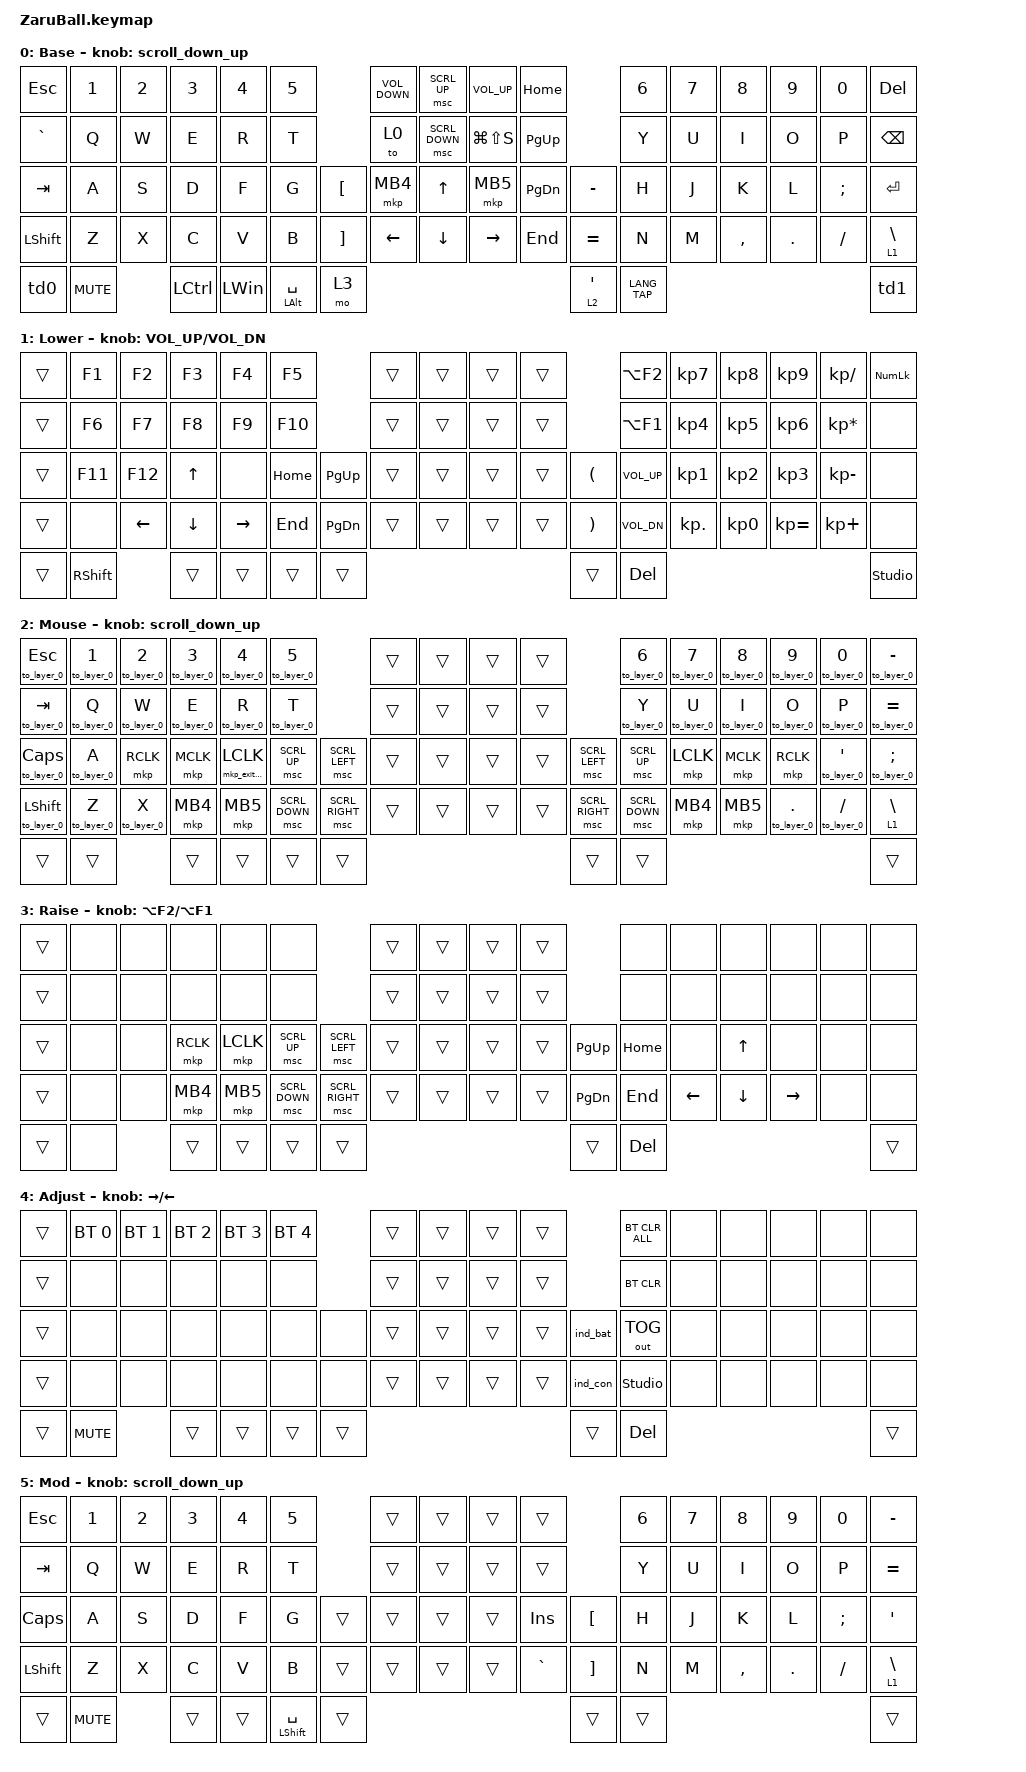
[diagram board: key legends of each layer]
//#include <dt-bindings/zmk/mouse.h>

#include <behaviors/rgbled_widget.dtsi>
#include <behaviors/naginata.dtsi>
#include <input/processors.dtsi>
#include <dt-bindings/zmk/input_transform.h>
#include <behaviors.dtsi>
#include <dt-bindings/zmk/bt.h>
#include <dt-bindings/zmk/keys.h>
#include <dt-bindings/zmk/outputs.h>
#include <dt-bindings/zmk/pointing.h>

#define BASE     0
#define NAGINATA 1
#define MOUSE    2
#define LOWER    3
#define RAISE    4
#define ADJUST   5
#define MOD      6
#define SCROLL   3

// スクロール量の設定

#define ZMK_POINTING_DEFAULT_SCRL_VAL 100

&trackball_listener {
    input-processors = <
&zip_xy_transform (INPUT_TRANSFORM_XY_SWAP | INPUT_TRANSFORM_Y_INVERT | INPUT_TRANSFORM_X_INVERT)
                        &zip_temp_layer MOUSE 50
    >;

    scroller {
        layers = <SCROLL>;
        input-processors = <
                            &zip_xy_transform (INPUT_TRANSFORM_XY_SWAP | INPUT_TRANSFORM_X_INVERT)
                            &zip_xy_scaler 1 20
                            &zip_xy_to_scroll_mapper
        >;
    };
};

/ {
    conditional_layers {
        compatible = "zmk,conditional-layers";

        tri_layer {
            if-layers = <1 5>;
            then-layer = <5>;
        };
    };
};

/ {
    behaviors {
        // スクロール用のbehaviorの設定

        scroll_down_up: behavior_sensor_rotate_mouse_wheel_down_up {
            compatible = "zmk,behavior-sensor-rotate";
            #sensor-binding-cells = <0>;
            bindings = <&msc SCRL_DOWN>, <&msc SCRL_UP>;

            tap-ms = <20>; // スクロールのタップ時間
        };

        td0: tap_dance_0 {
            compatible = "zmk,behavior-tap-dance";
            #binding-cells = <0>;
            tapping-term-ms = <200>;
            bindings = <&mt LEFT_CONTROL TAB>, <&mo 3>, <&mo 4>;
        };

        td1: tap_dance_1 {
            compatible = "zmk,behavior-tap-dance";
            #binding-cells = <0>;
            tapping-term-ms = <200>;
            bindings = <&mt RSHFT LANG1>, <&mo 3>, <&mo 4>;
        };

        // Customed Hold-Tap for SandS
        // 他キーとの同時押しのみHold(Shift), 500m以上長押しすると、Tap(Space)のリピート

        SandS: SandS {
            compatible = "zmk,behavior-hold-tap";
            #binding-cells = <2>;
            flavor = "tap-unless-interrupted";
            tapping-term-ms = <500>; // tap-unless-interruptedのため意味は無いが、設定しないとエラーはく
            quick-tap-ms = <500>;
            bindings = <&kp>, <&kp>;

            display-name = "SandS";
        };

        ht_BASE: ht_BASE {
            compatible = "zmk,behavior-hold-tap";
            #binding-cells = <2>;
            flavor = "hold-preferred";
            tapping-term-ms = <200>;
            bindings = <&BL_mod>, <&kp>;

            display-name = "ht-BL_mod";
        };

        LANG_TAP: LANG_TAP {
            compatible = "zmk,behavior-tap-dance";
            label = "LANG_TAP";
            #binding-cells = <0>;
            bindings = <&kp LANGUAGE_1>, <&kp LANGUAGE_2>;
        };
    };
};

&sl { release-after-ms = <250>; }; // time needed for double click (for mkp_exit_AML)
/ {
    macros {
        // When in AML, move to default layer when key (except mouse button) pressed

        to_layer_0: to_layer_0 {
            compatible = "zmk,behavior-macro-one-param";
            #binding-cells = <1>;
            bindings = <&tog 0 &macro_param_1to1 &kp MACRO_PLACEHOLDER>;
            label = "TO_layer_0";
        };

        // When LCLK pressed, exit AML (after 250ms cause by sticky layer)

        mkp_exit_AML: mkp_exit_AML {
            compatible = "zmk,behavior-macro-one-param";
            #binding-cells = <1>;
            bindings =
                <&macro_press>,
                <&macro_param_1to1 &mkp MACRO_PLACEHOLDER>,
                <&macro_pause_for_release>,
                <&macro_release>,
                <&macro_param_1to1 &mkp MACRO_PLACEHOLDER>,
                <&macro_tap>,
                <&sl 5>;

            label = "MKP_EXIT_AML";
        };

        // Support swapping into Scroll layer when AML is activated

        to_scroll_layer: to_scroll_layer {
            compatible = "zmk,behavior-macro";
            #binding-cells = <0>;
            bindings =
                <&to 1>,
                <&macro_press>,
                <&mo 1>,
                <&macro_pause_for_release>,
                <&macro_release>,
                <&mo 1>;
        };

        BL_mod: BL_mod {
            compatible = "zmk,behavior-macro-one-param";
            #binding-cells = <1>;
            bindings =
                <&macro_press>,
                <&mo 6 &macro_param_1to1>,
                <&macro_press>,
                <&kp MACRO_PLACEHOLDER>,
                <&macro_pause_for_release>,
                <&macro_param_1to1>,
                <&macro_release>,
                <&kp MACRO_PLACEHOLDER>,
                <&macro_release>,
                <&mo 6>;
        };
    };

    combos {
        compatible = "zmk,combos";

        combo_ng_on {
            timeout-ms = <300>;
            key-positions = <44 45>;
            bindings = <&ng_on>;
            layers = <0>;
        };

        combo_ng_off {
            timeout-ms = <300>;
            key-positions = <36 37>;
            bindings = <&ng_off>;
            layers = <0>;
        };

        left_click {
            bindings = <&mkp LCLK>;
            key-positions = <64 63>;
        };

        righet_click {
            bindings = <&mkp RCLK>;
            key-positions = <64 65>;
        };

        mid_click {
            bindings = <&mkp MCLK>;
            key-positions = <63 65>;
        };

        ALT {
            bindings = <&kp LEFT_ALT>;
            key-positions = <70 71>;
        };
    };
};

/ {
    keymap {
        compatible = "zmk,keymap";

        base_layer {
            display-name = "Base";
            sensor-bindings = <&scroll_down_up>;
            bindings = <
&kp ESC         &kp N1      &kp N2  &kp N3            &kp N4        &kp N5                             &kp C_VOLUME_DOWN  &msc SCRL_UP    &kp C_VOLUME_UP  &kp HOME                    &kp N6     &kp N7  &kp NUMBER_8  &kp N9   &kp N0    &kp DELETE
&kp GRAVE       &kp Q       &kp W   &kp E             &kp R         &kp T                              &to 0              &msc SCRL_DOWN  &kp LG(LS(S))    &kp PAGE_UP                 &kp Y      &kp U   &kp I         &kp O    &kp P     &kp BACKSPACE
&kp TAB         &kp A       &kp S   &kp D             &kp F         &kp G                  &kp LBKT    &mkp MB4           &kp UP_ARROW    &mkp MB5         &kp PAGE_DOWN    &kp MINUS  &kp H      &kp J   &kp K         &kp L    &kp SEMI  &kp RET
&kp LEFT_SHIFT  &kp Z       &kp X   &kp C             &kp V         &kp B                  &kp RBKT    &kp LEFT_ARROW     &kp DOWN_ARROW  &kp RIGHT        &kp END          &kp EQUAL  &kp N      &kp M   &kp COMMA     &kp DOT  &kp FSLH  &lt 1 BACKSLASH
&td0            &kp C_MUTE          &kp LEFT_CONTROL  &kp LEFT_WIN  &SandS LEFT_ALT SPACE  &mo 3                                                                            &lt 2 SQT  &LANG_TAP                                           &td1
            >;
        };

        lower_layer {
            display-name = "Lower";
            sensor-bindings = <&inc_dec_kp C_VOL_UP C_VOL_DN>;
            bindings = <
&trans  &kp F1     &kp F2    &kp F3    &kp F4     &kp F5                 &trans  &trans  &trans  &trans              &kp LA(F2)    &kp KP_N7   &kp KP_N8  &kp KP_N9     &kp KP_SLASH     &kp KP_NUMLOCK
&trans  &kp F6     &kp F7    &kp F8    &kp F9     &kp F10                &trans  &trans  &trans  &trans              &kp LA(F1)    &kp KP_N4   &kp KP_N5  &kp KP_N6     &kp KP_MULTIPLY  &none
&trans  &kp F11    &kp F12   &kp UP    &none      &kp HOME  &kp PG_UP    &trans  &trans  &trans  &trans    &kp LPAR  &kp C_VOL_UP  &kp KP_N1   &kp KP_N2  &kp KP_N3     &kp KP_MINUS     &none
&trans  &none      &kp LEFT  &kp DOWN  &kp RIGHT  &kp END   &kp PG_DN    &trans  &trans  &trans  &trans    &kp RPAR  &kp C_VOL_DN  &kp KP_DOT  &kp KP_N0  &kp KP_EQUAL  &kp KP_PLUS      &none
&trans  &kp RSHFT            &trans    &trans     &trans    &trans                                         &trans    &kp DEL                                                             &studio_unlock
            >;
        };

        mouse_layer {
            display-name = "Mouse";
            sensor-bindings = <&scroll_down_up>;
            bindings = <
&to_layer_0 ESC     &to_layer_0 N1  &to_layer_0 N2  &to_layer_0 N3  &to_layer_0 N4      &to_layer_0 N5                     &trans  &trans  &trans  &trans                     &to_layer_0 N6  &to_layer_0 N7  &to_layer_0 N8  &to_layer_0 N9      &to_layer_0 N0            &to_layer_0 MINUS
&to_layer_0 TAB     &to_layer_0 Q   &to_layer_0 W   &to_layer_0 E   &to_layer_0 R       &to_layer_0 T                      &trans  &trans  &trans  &trans                     &to_layer_0 Y   &to_layer_0 U   &to_layer_0 I   &to_layer_0 O       &to_layer_0 P             &to_layer_0 EQUAL
&to_layer_0 CAPS    &to_layer_0 A   &mkp RCLK       &mkp MCLK       &mkp_exit_AML LCLK  &msc SCRL_UP    &msc SCRL_LEFT     &trans  &trans  &trans  &trans    &msc SCRL_LEFT   &msc SCRL_UP    &mkp LCLK       &mkp MCLK       &mkp RCLK           &to_layer_0 SINGLE_QUOTE  &to_layer_0 SEMICOLON
&to_layer_0 LSHIFT  &to_layer_0 Z   &to_layer_0 X   &mkp MB4        &mkp MB5            &msc SCRL_DOWN  &msc SCRL_RIGHT    &trans  &trans  &trans  &trans    &msc SCRL_RIGHT  &msc SCRL_DOWN  &mkp MB4        &mkp MB5        &to_layer_0 PERIOD  &to_layer_0 SLASH         &lt 1 BACKSLASH
&trans              &trans                          &trans          &trans              &trans          &trans                                               &trans           &trans                                                                                        &trans
            >;
        };

        raise_layer {
            display-name = "Raise";
            sensor-bindings = <&inc_dec_kp LA(F2) LA(F1)>;
            bindings = <
&trans  &none  &none  &none      &none      &none                              &trans  &trans  &trans  &trans               &none     &none     &none     &none      &none  &none
&trans  &none  &none  &none      &none      &none                              &trans  &trans  &trans  &trans               &none     &none     &none     &none      &none  &none
&trans  &none  &none  &mkp RCLK  &mkp LCLK  &msc SCRL_UP    &msc SCRL_LEFT     &trans  &trans  &trans  &trans    &kp PG_UP  &kp HOME  &none     &kp UP    &none      &none  &none
&trans  &none  &none  &mkp MB4   &mkp MB5   &msc SCRL_DOWN  &msc SCRL_RIGHT    &trans  &trans  &trans  &trans    &kp PG_DN  &kp END   &kp LEFT  &kp DOWN  &kp RIGHT  &none  &none
&trans  &none         &trans     &trans     &trans          &trans                                               &trans     &kp DEL                                         &trans
            >;
        };

        adjust_layer {
            display-name = "Adjust";
            sensor-bindings = <&inc_dec_kp RIGHT LEFT>;
            bindings = <
&trans  &bt BT_SEL 0  &bt BT_SEL 1  &bt BT_SEL 2  &bt BT_SEL 3  &bt BT_SEL 4            &trans  &trans  &trans  &trans              &bt BT_CLR_ALL  &none  &none  &none  &none  &none
&trans  &none         &none         &none         &none         &none                   &trans  &trans  &trans  &trans              &bt BT_CLR      &none  &none  &none  &none  &none
&trans  &none         &none         &none         &none         &none         &none     &trans  &trans  &trans  &trans    &ind_bat  &out OUT_TOG    &none  &none  &none  &none  &none
&trans  &none         &none         &none         &none         &none         &none     &trans  &trans  &trans  &trans    &ind_con  &studio_unlock  &none  &none  &none  &none  &none
&trans  &kp C_MUTE                  &trans        &trans        &trans        &trans                                      &trans    &kp DEL                                     &trans
            >;
        };

        mod_layer {
            display-name = "Mod";
            sensor-bindings = <&scroll_down_up>;
            bindings = <
&kp ESC    &kp N1      &kp N2  &kp N3  &kp N4  &kp N5                     &trans  &trans  &trans  &trans                 &kp N6  &kp N7  &kp N8     &kp N9   &kp N0    &kp MINUS
&kp TAB    &kp Q       &kp W   &kp E   &kp R   &kp T                      &trans  &trans  &trans  &trans                 &kp Y   &kp U   &kp I      &kp O    &kp P     &kp EQUAL
&kp CAPS   &kp A       &kp S   &kp D   &kp F   &kp G            &trans    &trans  &trans  &trans  &kp INS      &kp LBKT  &kp H   &kp J   &kp K      &kp L    &kp SEMI  &kp SQT
&kp LSHFT  &kp Z       &kp X   &kp C   &kp V   &kp B            &trans    &trans  &trans  &trans  &kp GRAVE    &kp RBKT  &kp N   &kp M   &kp COMMA  &kp DOT  &kp FSLH  &lt 1 BACKSLASH
&trans     &kp C_MUTE          &trans  &trans  &mt LSHFT SPACE  &trans                                         &trans    &trans                                        &trans
            >;
        };

        extra1 { status = "reserved"; };

        extra2 { status = "reserved"; };
    };
};
